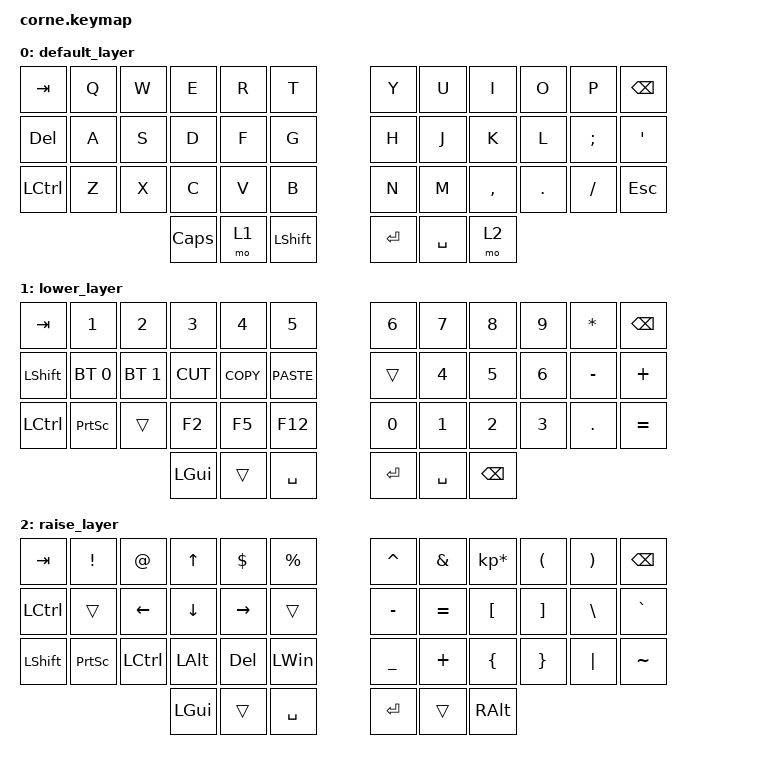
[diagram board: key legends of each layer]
/*
 * Copyright (c) 2020 The ZMK Contributors
 *
 * SPDX-License-Identifier: MIT
 */

#include <behaviors.dtsi>
#include <dt-bindings/zmk/bt.h>
#include <dt-bindings/zmk/keys.h>

&led_strip { chain-length = <27>; };

/ {
    keymap {
        compatible = "zmk,keymap";

        default_layer {
            // -----------------------------------------------------------------------------------------
            // |  TAB |  Q  |  W  |  E  |  R  |  T  |   |  Y  |  U   |  I  |  O  |  P  | BKSP |
            // | CTRL |  A  |  S  |  D  |  F  |  G  |   |  H  |  J   |  K  |  L  |  ;  |  '   |
            // | SHFT |  Z  |  X  |  C  |  V  |  B  |   |  N  |  M   |  ,  |  .  |  /  | ESC  |
            //                    | GUI | LWR | SPC |   | ENT | RSE  | ALT |

            bindings = <
&kp TAB           &kp Q  &kp W  &kp E     &kp R  &kp T        &kp Y    &kp U      &kp I      &kp O    &kp P     &kp BSPC
&kp DELETE        &kp A  &kp S  &kp D     &kp F  &kp G        &kp H    &kp J      &kp K      &kp L    &kp SEMI  &kp SQT
&kp LEFT_CONTROL  &kp Z  &kp X  &kp C     &kp V  &kp B        &kp N    &kp M      &kp COMMA  &kp DOT  &kp FSLH  &kp ESC
                                &kp CAPS  &mo 1  &kp LSHFT    &kp RET  &kp SPACE  &mo 2
            >;
        };

        lower_layer {
            // -----------------------------------------------------------------------------------------
            // |  TAB |  1  |  2  |  3  |  4  |  5  |   |  6  |  7  |  8  |  9  |  0  | BKSP |
            // | BTCLR| BT1 | BT2 | BT3 | BT4 | BT5 |   | LFT | DWN |  UP | RGT |     |      |
            // | SHFT |     |     |     |     |     |   |     |     |     |     |     |RGBTOG|
            //                    | GUI |     | SPC |   | ENT |     | ALT |

            bindings = <
&kp TAB    &kp N1           &kp N2        &kp N3     &kp N4      &kp N5         &kp N6   &kp N7     &kp N8         &kp N9  &kp ASTERISK  &kp BSPC
&kp LSHFT  &bt BT_SEL 0     &bt BT_SEL 1  &kp K_CUT  &kp K_COPY  &kp K_PASTE    &trans   &kp N4     &kp N5         &kp N6  &kp MINUS     &kp PLUS
&kp LCTRL  &kp PRINTSCREEN  &trans        &kp F2     &kp F5      &kp F12        &kp N0   &kp N1     &kp N2         &kp N3  &kp DOT       &kp EQUAL
                                          &kp LGUI   &trans      &kp SPACE      &kp RET  &kp SPACE  &kp BACKSPACE
            >;
        };

        raise_layer {
            // -----------------------------------------------------------------------------------------
            // |  TAB |  !  |  @  |  #  |  $  |  %  |   |  ^  |  &  |  *  |  (  |  )  | BKSP |
            // | CTRL |     |     |     |     |     |   |  -  |  =  |  [  |  ]  |  \  |  `   |
            // | SHFT |     |     |     |     |     |   |  _  |  +  |  {  |  }  | "|" |  ~   |
            //                    | GUI |     | SPC |   | ENT |     | ALT |

            bindings = <
&kp TAB    &kp EXCL         &kp AT          &kp UP_ARROW    &kp DLLR         &kp PRCNT       &kp CARET  &kp AMPS   &kp KP_MULTIPLY  &kp LPAR  &kp RPAR  &kp BSPC
&kp LCTRL  &trans           &kp LEFT_ARROW  &kp DOWN_ARROW  &kp RIGHT_ARROW  &trans          &kp MINUS  &kp EQUAL  &kp LBKT         &kp RBKT  &kp BSLH  &kp GRAVE
&kp LSHFT  &kp PRINTSCREEN  &kp LCTRL       &kp LEFT_ALT    &kp DELETE       &kp LEFT_WIN    &kp UNDER  &kp PLUS   &kp LBRC         &kp RBRC  &kp PIPE  &kp TILDE
                                            &kp LGUI        &trans           &kp SPACE       &kp RET    &trans     &kp RALT
            >;
        };
    };
};
